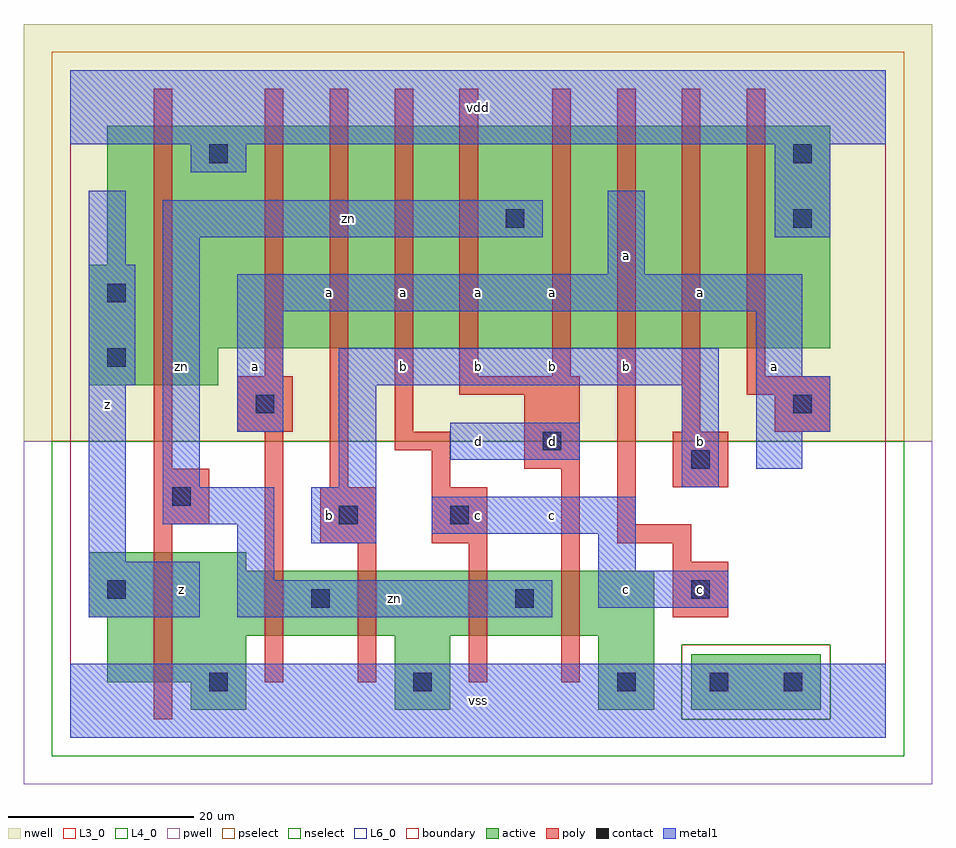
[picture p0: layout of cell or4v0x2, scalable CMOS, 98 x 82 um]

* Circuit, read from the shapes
.subckt or4v0x2 a b c d vdd vss z zn
M1 vss zn z vss nfet w=14u l=2u
M2 zn a vss vss nfet w=7u l=2u
M3 vss b zn vss nfet w=7u l=2u
M4 zn c vss vss nfet w=7u l=2u
M5 vss d zn vss nfet w=7u l=2u
M6 vdd zn z n1 pfet w=28u l=2u
M7 n2 a vdd n1 pfet w=24u l=2u
M8 n3 b n2 n1 pfet w=24u l=2u
M9 n4 c n3 n1 pfet w=24u l=2u
M10 zn d n4 n1 pfet w=24u l=2u
M11 n5 d zn n1 pfet w=24u l=2u
M12 n6 c n5 n1 pfet w=24u l=2u
M13 n7 b n6 n1 pfet w=24u l=2u
M14 vdd a n7 n1 pfet w=24u l=2u
.ends

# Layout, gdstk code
import gdstk
lib = gdstk.Library(unit=1e-6, precision=1e-09)
def R(c, l, rs):  # rectangles x0, y0, x1, y1
    for r in rs: c.add(gdstk.rectangle(r[:2], r[2:], *l))
def A(c, l, x, y, w, h, nx, ny, dx, dy):  # array of equal rectangles
    R(c, l, [(x+i*dx, y+j*dy, x+i*dx+w, y+j*dy+h) for i in range(nx) for j in range(ny)])
L3_0 = (3, 0)
L4_0 = (4, 0)
L6_0 = (6, 0)
contact = (25, 0)
pwell = (41, 0)
nwell = (42, 0)
active = (43, 0)
pselect = (44, 0)
nselect = (45, 0)
poly = (46, 0)
metal1 = (49, 0)
boundary = (63, 0)

or4v0x2 = lib.new_cell('or4v0x2')
R(or4v0x2, L3_0, [(13,3,19,6), (35,3,41,11), (57,3,63,11), (4,6,19,11), (4,11,63,13), (2,13,63,18), (2,18,19,20)])
R(or4v0x2, L4_0, [(2,38,16,42), (2,42,82,51), (4,51,82,66)])
R(or4v0x2, L6_0, [(67,3,81,9)])
A(or4v0x2, contact, 15, 5, 2, 2, 3, 1, 22, 0)
R(or4v0x2, contact, [(69,5,71,7), (77,5,79,7), (26,14,28,16), (48,14,50,16), (4,15,6,17), (67,15,69,17), (29,23,31,25), (41,23,43,25), (11,25,13,27), (67,29,69,31), (51,31,53,33), (20,35,22,37), (78,35,80,37), (4,40,6,42), (4,47,6,49), (47,55,49,57), (78,55,80,57), (15,62,17,64), (78,62,80,64)])
R(or4v0x2, pwell, [(-5,-5,93,32)])
R(or4v0x2, nwell, [(-5,32,93,77)])
R(or4v0x2, active, [(13,3,19,6), (35,3,41,11), (57,3,63,11), (67,3,81,9), (4,6,19,11), (4,11,63,13), (2,13,63,18), (2,18,19,20), (2,38,16,42), (2,42,82,51), (4,51,82,66)])
R(or4v0x2, pselect, [(66,2,82,10), (-2,32,90,74)])
R(or4v0x2, nselect, [(-2,-2,90,2), (-2,2,66,10), (82,2,90,10), (-2,10,90,32)])
R(or4v0x2, poly, [(9,2,11,23), (21,6,23,33), (31,6,33,21), (43,6,45,21), (53,6,55,29), (65,13,71,19), (65,19,67,21), (27,21,33,27), (39,21,45,27), (59,21,67,23), (9,23,15,29), (59,23,61,70), (28,27,30,70), (39,27,41,31), (65,27,71,33), (9,29,11,70), (49,29,55,37), (35,31,41,33), (18,33,24,39), (35,33,37,70), (66,33,68,70), (76,33,82,37), (42,37,55,39), (73,37,82,39), (21,39,23,70), (42,39,44,70), (52,39,54,70), (73,39,75,70)])
R(or4v0x2, metal1, [(0,0,88,8), (2,13,14,19), (18,13,52,17), (57,14,71,18), (18,17,22,23), (57,18,61,22), (2,19,6,38), (26,21,33,27), (39,22,61,26), (10,23,22,27), (10,27,14,54), (29,27,33,38), (66,27,70,38), (74,29,79,33), (41,30,55,34), (18,33,23,46), (74,33,82,39), (2,38,7,51), (29,38,70,42), (74,39,79,46), (18,46,79,50), (58,50,62,59), (2,51,6,59), (10,54,51,58), (76,54,82,64), (13,61,19,64), (0,64,88,72)])
R(or4v0x2, boundary, [(0,0,88,72)])
or4v0x2.add(gdstk.Label('zn', (12,40), layer=49, texttype=0))
or4v0x2.add(gdstk.Label('zn', (35,15), layer=49, texttype=0))
or4v0x2.add(gdstk.Label('zn', (30,56), layer=49, texttype=0))
or4v0x2.add(gdstk.Label('z', (12,16), layer=49, texttype=0))
or4v0x2.add(gdstk.Label('z', (4,36), layer=49, texttype=0))
or4v0x2.add(gdstk.Label('b', (28,24), layer=49, texttype=0))
or4v0x2.add(gdstk.Label('a', (20,40), layer=49, texttype=0))
or4v0x2.add(gdstk.Label('a', (28,48), layer=49, texttype=0))
or4v0x2.add(gdstk.Label('vss', (44,4), layer=49, texttype=0))
or4v0x2.add(gdstk.Label('c', (44,24), layer=49, texttype=0))
or4v0x2.add(gdstk.Label('d', (44,32), layer=49, texttype=0))
or4v0x2.add(gdstk.Label('b', (36,40), layer=49, texttype=0))
or4v0x2.add(gdstk.Label('b', (44,40), layer=49, texttype=0))
or4v0x2.add(gdstk.Label('a', (36,48), layer=49, texttype=0))
or4v0x2.add(gdstk.Label('a', (44,48), layer=49, texttype=0))
or4v0x2.add(gdstk.Label('vdd', (44,68), layer=49, texttype=0))
or4v0x2.add(gdstk.Label('c', (60,16), layer=49, texttype=0))
or4v0x2.add(gdstk.Label('c', (68,16), layer=49, texttype=0))
or4v0x2.add(gdstk.Label('c', (52,24), layer=49, texttype=0))
or4v0x2.add(gdstk.Label('b', (68,32), layer=49, texttype=0))
or4v0x2.add(gdstk.Label('d', (52,32), layer=49, texttype=0))
or4v0x2.add(gdstk.Label('b', (52,40), layer=49, texttype=0))
or4v0x2.add(gdstk.Label('b', (60,40), layer=49, texttype=0))
or4v0x2.add(gdstk.Label('a', (52,48), layer=49, texttype=0))
or4v0x2.add(gdstk.Label('a', (60,52), layer=49, texttype=0))
or4v0x2.add(gdstk.Label('a', (68,48), layer=49, texttype=0))
or4v0x2.add(gdstk.Label('a', (76,40), layer=49, texttype=0))

lib.write_gds('or4v0x2.gds')
